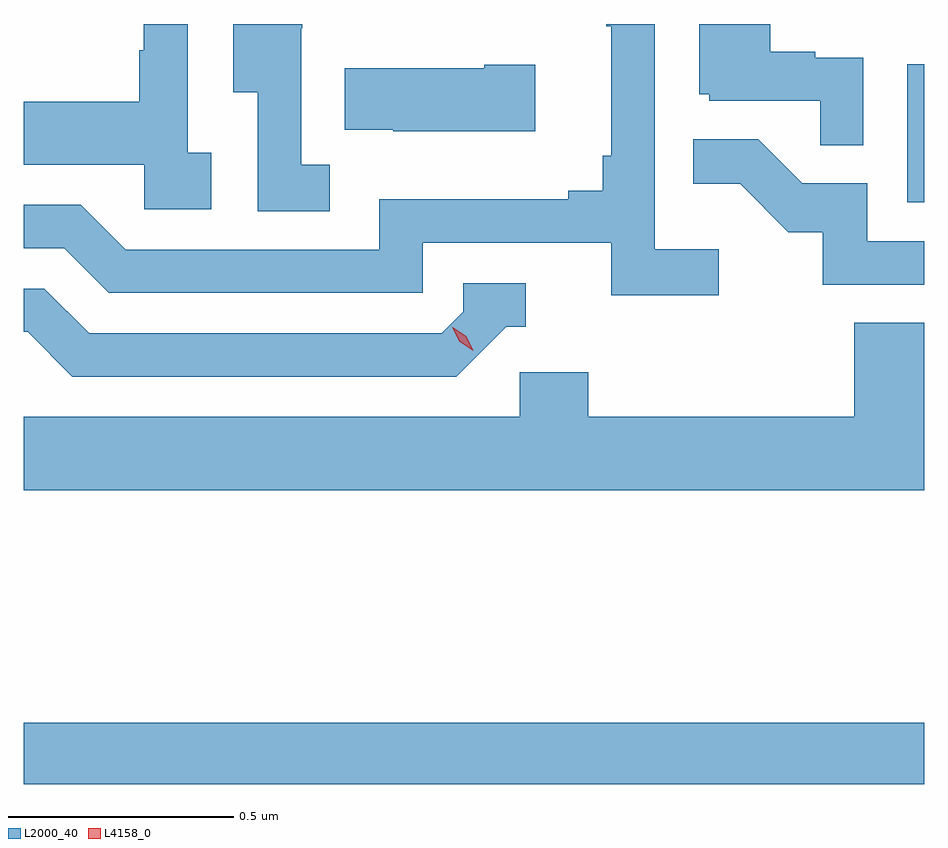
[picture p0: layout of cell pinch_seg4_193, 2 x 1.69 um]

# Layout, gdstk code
import gdstk
lib = gdstk.Library(unit=1e-6, precision=1e-09)
def R(c, l, rs):  # rectangles x0, y0, x1, y1
    for r in rs: c.add(gdstk.rectangle(r[:2], r[2:], *l))
def P(c, l, *ps):  # polygons
    for p in ps: c.add(gdstk.Polygon(p, *l))
L2000_40 = (2000, 40)
L4158_0 = (4158, 0)

pinch_seg4_193 = lib.new_cell('pinch_seg4_193')
R(pinch_seg4_193, L2000_40, [(974.144,812.152,976.144,812.288), (976.106,813.444,976.144,813.751)])
P(pinch_seg4_193, L2000_40, [(975.688,813.34),(975.546,813.34),(975.546,813.84),(975.438,813.84),(975.438,813.835),(975.449,813.835),(975.449,813.547),(975.43,813.547),(975.43,813.47),(975.353,813.47),(975.353,813.451),(974.934,813.451),(974.934,813.339),(974.37,813.339),(974.271,813.438),(974.144,813.438),(974.144,813.342),(974.234,813.342),(974.333,813.243),(975.03,813.243),(975.03,813.354),(975.449,813.354),(975.449,813.238),(975.688,813.238)],
  [(974.56,813.554),(974.508,813.554),(974.508,813.84),(974.41,813.84),(974.41,813.782),(974.4,813.782),(974.4,813.667),(974.144,813.667),(974.144,813.527),(974.412,813.527),(974.412,813.429),(974.56,813.429)],
  [(974.824,813.527),(974.76,813.527),(974.76,813.831),(974.762,813.831),(974.762,813.84),(974.609,813.84),(974.609,813.688),(974.664,813.688),(974.664,813.424),(974.824,813.424)],
  [(976.008,813.765),(975.902,813.765),(975.902,813.778),(975.802,813.778),(975.802,813.84),(975.644,813.84),(975.644,813.684),(975.666,813.684),(975.666,813.669),(975.913,813.669),(975.913,813.571),(976.008,813.571)],
  [(975.28,813.75),(975.167,813.75),(975.167,813.742),(974.857,813.742),(974.857,813.605),(974.965,813.605),(974.965,813.602),(975.28,813.602)],
  [(976.144,813.357),(976.017,813.357),(976.017,813.486),(975.873,813.486),(975.775,813.584),(975.631,813.584),(975.631,813.485),(975.735,813.485),(975.842,813.378),(975.919,813.378),(975.919,813.261),(976.144,813.261)],
  [(975.216,813.168),(975.259,813.168),(975.259,813.264),(975.12,813.264),(975.12,813.201),(975.072,813.153),(974.289,813.153),(974.19,813.252),(974.144,813.252),(974.144,813.156),(974.153,813.156),(974.252,813.057),(975.105,813.057)],
  [(976.144,813.176),(975.989,813.176),(975.989,812.968),(975.398,812.968),(975.398,813.066),(975.246,813.066),(975.246,812.968),(974.144,812.968),(974.144,812.804),(976.144,812.804)])
P(pinch_seg4_193, L4158_0, [(975.142,813.114),(975.112,813.134),(975.096,813.167),(975.096,813.167),(975.097,813.167),(975.127,813.147),(975.142,813.114),(975.142,813.114)])

lib.write_gds('pinch_seg4_193.gds')
